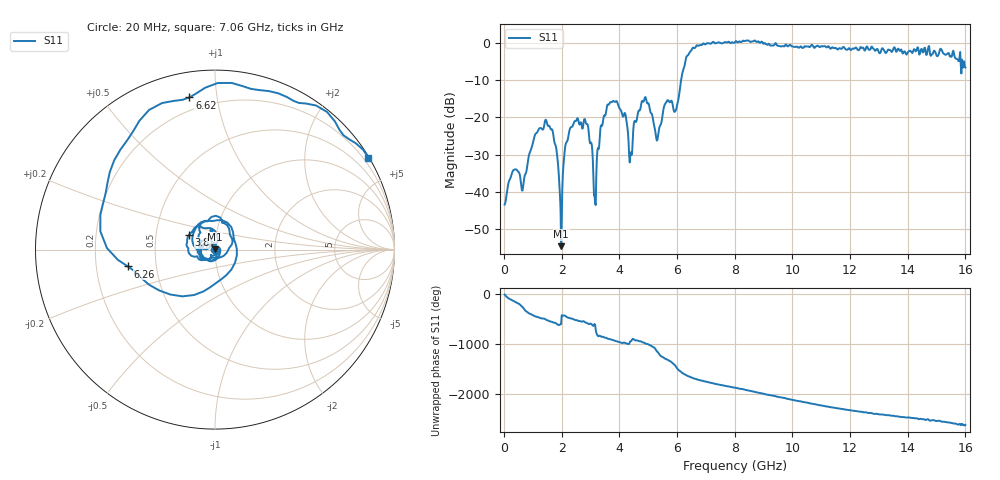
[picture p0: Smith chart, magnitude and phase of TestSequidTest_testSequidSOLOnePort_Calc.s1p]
# MHz MA S R 50.0
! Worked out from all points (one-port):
!   800 points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, 20 MHz to 16 GHz, reference 50 ohm
!   lowest |S11| = -54.6 dB at 1.98 GHz (marker M1), VSWR 1.00, Z = 49.9 + j0.169 ohm
!   |S11| at or under -10 dB: start of sweep to 6.139 GHz
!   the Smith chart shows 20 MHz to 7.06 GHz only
!   S11 on the Smith chart (normalised r, x): 20 MHz: 1.01, -0.00; 3.8 GHz: 0.74, +0.12; 6.26 GHz: 0.34, -0.08; 6.62 GHz: 0.13, +0.84; 7.06 GHz: 0.03, +3.61
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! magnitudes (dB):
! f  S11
! 20 MHz  -43.4
! 340 MHz  -34.0
! 680 MHz  -37.4
! 1.08 GHz  -24.6
! 1.48 GHz  -21.2
! 1.76 GHz  -27.0
! 1.98 GHz  -54.6
! 2.02 GHz  -39.3
! 2.14 GHz  -27.1
! 2.36 GHz  -22.5
! 2.86 GHz  -21.8
! 3.16 GHz  -43.0
! 3.4 GHz  -22.2
! 3.8 GHz  -15.6
! 4.02 GHz  -17.7
! 4.38 GHz  -30.2
! 4.84 GHz  -15.8
! 5.3 GHz  -26.2
! 5.62 GHz  -16.0
! 6.02 GHz  -16.1
! 6.26 GHz  -6.1
! 6.62 GHz  -1.3
! 7.06 GHz  0.0
! 8.02 GHz  0.3
! 10.02 GHz  -0.9
! 12.02 GHz  -1.9
! 14.02 GHz  -2.3
! 16 GHz  -6.6
